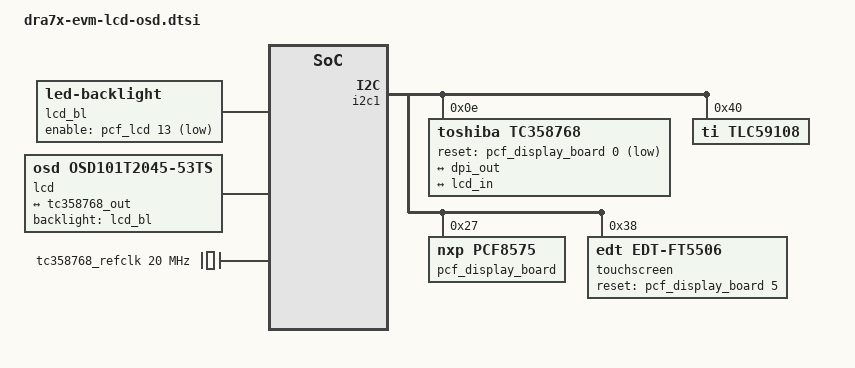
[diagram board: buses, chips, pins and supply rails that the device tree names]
/*
 * Copyright (C) 2016 Texas Instruments Incorporated - http://www.ti.com/
 *
 * This program is free software; you can redistribute it and/or modify
 * it under the terms of the GNU General Public License version 2 as
 * published by the Free Software Foundation.
 */

/ {
	aliases {
		display0 = &lcd;
		display1 = &hdmi0;
	};

	lcd_bl: backlight {
		compatible = "led-backlight";
		leds = <&backlight_led>;
		brightness-levels = <0 243 245 247 248 249 251 252 255>;
		default-brightness-level = <8>;

		enable-gpios = <&pcf_lcd 13 GPIO_ACTIVE_LOW>;
	};

	lcd: display {
		/*
		 * TODO: Not a DPI panel, but a dummy DSI video mode panel.
		 * This needs to be changed later when we can support DSI VM
		 * panels properly.
		 */
		compatible = "osd,osd101t2045-53ts", "panel-dpi";

		label = "lcd";

		backlight = <&lcd_bl>;

		panel-timing {
			clock-frequency = <154000000>;
			hactive = <1920>;
			vactive = <1200>;

			hfront-porch = <112>;
			hback-porch = <32>;
			hsync-len = <16>;

			vfront-porch = <16>;
			vback-porch = <16>;
			vsync-len = <2>;

			hsync-active = <0>;
			vsync-active = <0>;
			de-active = <1>;
			pixelclk-active = <1>;
		};

		port {
			lcd_in: endpoint {
				remote-endpoint = <&tc358768_out>;
			};
		};
	};

	tc358768_refclk: tc358768_refclk {
		#clock-cells = <0>;
		compatible = "fixed-clock";
		clock-frequency = <20000000>;
	};
};

&i2c1 {
	tc358768@0e {
		compatible = "toshiba,tc358768";
		reg = <0x0e>;

		clocks = <&tc358768_refclk>;
		clock-names = "refclk";

		reset-gpios = <&pcf_display_board 0 GPIO_ACTIVE_LOW>;

		ports {
			#address-cells = <1>;
			#size-cells = <0>;

			port@0 {
				reg = <0>;
				tc358768_in: endpoint {
					remote-endpoint = <&dpi_out>;
					data-lines = <24>;
				};
			};

			port@1 {
				reg = <1>;
				tc358768_out: endpoint {
					remote-endpoint = <&lcd_in>;
					lanes = <0 1 2 3 4 5 6 7 8 9>;
				};
			};
		};
	};

	tlc59108: tlc59116@40 {
		#address-cells = <1>;
		#size-cells = <0>;
		compatible = "ti,tlc59108";
		reg = <0x40>;

		backlight_led: bl@2 {
			label = "backlight";
			reg = <0x2>;
		};
	};

	pcf_display_board: gpio@27 {
		compatible = "nxp,pcf8575";
		reg = <0x27>;
		gpio-controller;
		#gpio-cells = <2>;
	};

	touchscreen: edt-ft5506@38 {
		status = "okay";
		compatible = "edt,edt-ft5506", "edt,edt-ft5x06";

		reg = <0x38>;

		/* GPIO line is inverted before going to touch panel */
		reset-gpios = <&pcf_display_board 5 GPIO_ACTIVE_HIGH>;

		touchscreen-size-x = <1920>;
		touchscreen-size-y = <1200>;
	};
};

&dss {
	ports {
		#address-cells = <1>;
		#size-cells = <0>;

		port@0 {
			reg = <0>;

			dpi_out: endpoint {
				remote-endpoint = <&tc358768_in>;
				data-lines = <24>;
			};
		};

	};
};
